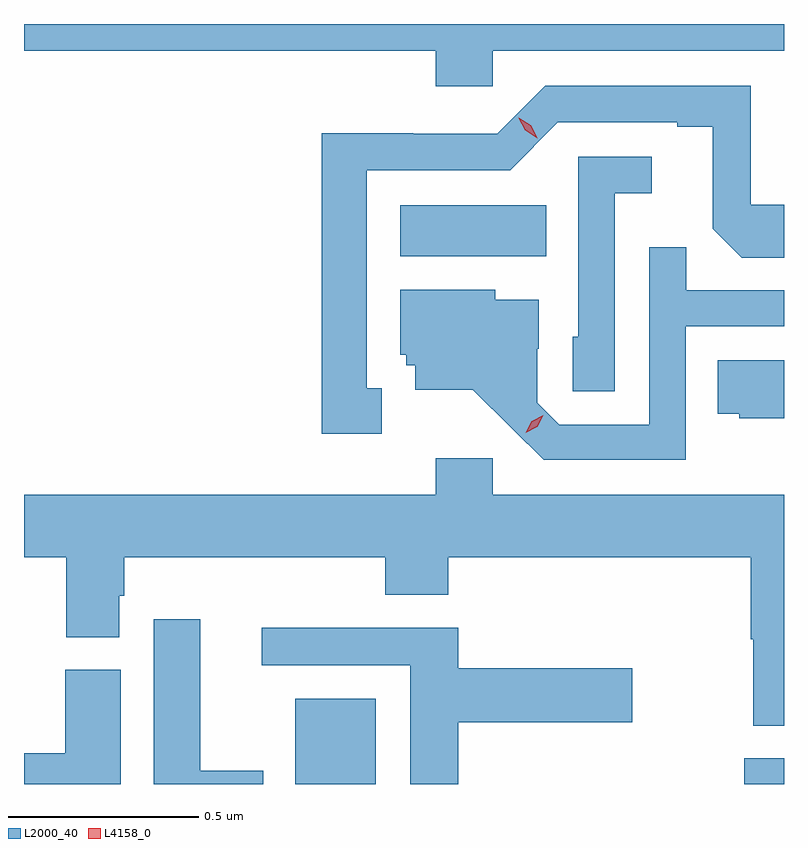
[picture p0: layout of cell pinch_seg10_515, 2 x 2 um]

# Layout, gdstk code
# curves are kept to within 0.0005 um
import gdstk
lib = gdstk.Library(unit=1e-6, precision=1e-09)
def R(c, l, rs):  # rectangles x0, y0, x1, y1
    for r in rs: c.add(gdstk.rectangle(r[:2], r[2:], *l))
def P(c, l, *ps):  # polygons
    for p in ps: c.add(gdstk.Polygon(p, *l))
L2000_40 = (2000, 40)
L4158_0 = (4158, 0)

pinch_seg10_515 = lib.new_cell('pinch_seg10_515')
R(pinch_seg10_515, L2000_40, [(274.292,1299.719,274.504,1299.943), (275.474,1299.719,275.578,1299.787), (274.568,1301.108,274.952,1301.242)])
P(pinch_seg10_515, L2000_40, [(274.812,1301.648),(275.578,1301.648),(275.578,1301.719),(273.578,1301.719),(273.578,1301.648),(274.661,1301.648),(274.661,1301.555),(274.812,1301.555)],
  [(274.519,1300.761),(274.48,1300.761),(274.48,1301.334),(274.857,1301.334),(274.983,1301.46),(275.297,1301.46),(275.297,1301.448),(275.391,1301.448),(275.391,1301.18),(275.467,1301.104),(275.578,1301.104),(275.578,1301.244),(275.49,1301.244),(275.49,1301.556),(274.95,1301.556),(274.824,1301.43),(274.602,1301.43),(274.602,1301.432),(274.362,1301.432),(274.362,1300.641),(274.519,1300.641)],
  [(275.133,1301.273),(275.23,1301.273),(275.23,1301.37),(275.037,1301.37),(275.037,1300.896),(275.022,1300.896),(275.022,1300.753),(275.133,1300.753)],
  [(275.319,1300.923),(275.578,1300.923),(275.578,1301.019),(275.321,1301.019),(275.321,1301.132),(275.223,1301.132),(275.223,1300.665),(274.986,1300.665),(274.929,1300.722),(274.929,1300.864),(274.933,1300.864),(274.933,1300.993),(274.818,1300.993),(274.818,1301.02),(274.568,1301.02),(274.568,1300.848),(274.584,1300.848),(274.584,1300.821),(274.607,1300.821),(274.607,1300.757),(274.759,1300.757),(274.946,1300.572),(275.319,1300.572)],
  [(275.578,1300.834),(275.404,1300.834),(275.404,1300.694),(275.46,1300.694),(275.46,1300.682),(275.578,1300.682)],
  [(275.578,1300.48),(274.812,1300.48),(274.812,1300.576),(274.661,1300.576),(274.661,1300.48),(273.578,1300.48),(273.578,1300.316),(273.689,1300.316),(273.689,1300.105),(273.829,1300.105),(273.829,1300.215),(273.842,1300.215),(273.842,1300.316),(274.529,1300.316),(274.529,1300.217),(274.694,1300.217),(274.694,1300.316),(275.49,1300.316),(275.49,1300.1),(275.497,1300.1),(275.497,1299.872),(275.578,1299.872)],
  [(274.207,1299.754),(274.042,1299.754),(274.042,1300.153),(273.92,1300.153),(273.92,1299.719),(274.207,1299.719)],
  [(274.721,1299.881),(275.179,1299.881),(275.179,1300.023),(274.721,1300.023),(274.721,1300.13),(274.203,1300.13),(274.203,1300.032),(274.595,1300.032),(274.595,1299.719),(274.721,1299.719)],
  [(273.832,1300.02),(273.686,1300.02),(273.686,1299.8),(273.578,1299.8),(273.578,1299.719),(273.832,1299.719)])
P(pinch_seg10_515, L4158_0, [(274.898,1300.644),(274.898,1300.644),(274.914,1300.674),(274.944,1300.69),(274.945,1300.69),(274.945,1300.689),(274.928,1300.659),(274.898,1300.644)],
  [(274.929,1301.419),(274.897,1301.439),(274.88,1301.471),(274.88,1301.472),(274.88,1301.472),(274.912,1301.452),(274.929,1301.42),(274.929,1301.419)])

lib.write_gds('pinch_seg10_515.gds')
